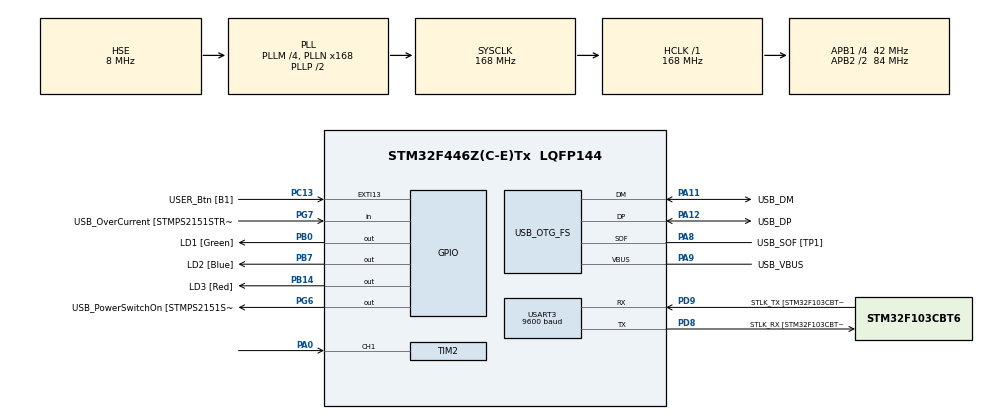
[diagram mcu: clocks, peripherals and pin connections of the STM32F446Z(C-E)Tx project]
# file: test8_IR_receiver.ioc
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Mcu.Family=STM32F4
Mcu.Name=STM32F446Z(C-E)Tx
Mcu.Package=LQFP144
NVIC.PriorityGroup=NVIC_PRIORITYGROUP_4
NVIC.TIM2_IRQn=true\:0\:0\:false\:false\:true\:true\:true\:true
PA0-WKUP.Signal=S_TIM2_CH1_ETR
PA10.GPIO_Label=USB_ID
PA10.Signal=USB_OTG_FS_ID
PA11.GPIO_Label=USB_DM
PA11.Mode=Device_Only
PA11.Signal=USB_OTG_FS_DM
PA12.GPIO_Label=USB_DP
PA12.Mode=Device_Only
PA12.Signal=USB_OTG_FS_DP
PA13.GPIO_Label=TMS
PA13.Mode=Serial_Wire
PA13.Signal=SYS_JTMS-SWDIO
PA14.GPIO_Label=TCK
PA14.Mode=Serial_Wire
PA14.Signal=SYS_JTCK-SWCLK
PA8.GPIO_Label=USB_SOF [TP1]
PA8.Mode=Activate_SOF_FS
PA8.Signal=USB_OTG_FS_SOF
PA9.GPIO_Label=USB_VBUS
PA9.Mode=Activate_VBUS
PA9.Signal=USB_OTG_FS_VBUS
PB0.GPIO_Label=LD1 [Green]
PB0.Signal=GPIO_Output
PB14.GPIO_Label=LD3 [Red]
PB14.Signal=GPIO_Output
PB7.GPIO_Label=LD2 [Blue]
PB7.Signal=GPIO_Output
PC13.GPIO_Label=USER_Btn [B1]
PC13.Signal=GPXTI13
PC14-OSC32_IN.Mode=LSE-External-Oscillator
PC14-OSC32_IN.Signal=RCC_OSC32_IN
PC15-OSC32_OUT.Mode=LSE-External-Oscillator
PC15-OSC32_OUT.Signal=RCC_OSC32_OUT
PD8.GPIO_Label=STLK_RX [STM32F103CBT6_PA3]
PD8.Mode=Asynchronous
PD8.Signal=USART3_TX
PD9.GPIO_Label=STLK_TX [STM32F103CBT6_PA2]
PD9.Mode=Asynchronous
PD9.Signal=USART3_RX
PG6.GPIO_Label=USB_PowerSwitchOn [STMPS2151STR_EN]
PG6.Signal=GPIO_Output
PG7.GPIO_Label=USB_OverCurrent [STMPS2151STR_FAULT]
PG7.Signal=GPIO_Input
PH0-OSC_IN.GPIO_Label=MCO [STM32F103CBT6_PA8]
PH0-OSC_IN.Mode=HSE-External-Clock-Source
PH0-OSC_IN.Signal=RCC_OSC_IN
PH1-OSC_OUT.Mode=HSE-External-Clock-Source
PH1-OSC_OUT.Signal=RCC_OSC_OUT
ProjectManager.HeapSize=0x200
ProjectManager.StackSize=0x400
ProjectManager.TargetToolchain=STM32CubeIDE
RCC.48MHZClocksFreq_Value=24000000
RCC.AHBFreq_Value=168000000
RCC.APB1CLKDivider=RCC_HCLK_DIV4
RCC.APB1Freq_Value=42000000
RCC.APB1TimFreq_Value=84000000
RCC.APB2CLKDivider=RCC_HCLK_DIV2
RCC.APB2Freq_Value=84000000
RCC.APB2TimFreq_Value=168000000
RCC.CortexFreq_Value=168000000
RCC.HCLKFreq_Value=168000000
RCC.HSE_VALUE=8000000
RCC.HSI_VALUE=16000000
RCC.PLLM=4
RCC.PLLMUL=RCC_PLL_MUL9
RCC.PLLN=168
RCC.PLLQ=7
RCC.PRESCALERUSB=RCC_USBCLKSOURCE_PLL_DIV1_5
RCC.SYSCLKFreq_VALUE=168000000
RCC.SYSCLKSource=RCC_SYSCLKSOURCE_PLLCLK
RCC.SYSCLKSourceVirtual=RCC_SYSCLKSOURCE_PLLCLK
RCC.USBFreq_Value=48000000
RCC.VCOOutputFreq_Value=336000000
SH.S_TIM2_CH1_ETR.0=TIM2_CH1,Input_Capture1_from_TI1
TIM2.Channel-Input_Capture1_from_TI1=TIM_CHANNEL_1
TIM2.Channel-Input_Capture2_from_TI1_63=TIM_CHANNEL_2
TIM2.ICPolarity_CH1=TIM_INPUTCHANNELPOLARITY_FALLING
TIM2.Period=10000-1
TIM2.Prescaler=84-1
USART3.BaudRate=9600
USART3.VirtualMode=VM_ASYNC
USB_OTG_FS.VirtualMode=Device_Only
VP_TIM2_VS_ClockSourceINT.Mode=Internal
VP_TIM2_VS_indirect_ch1.Mode=Input_Capture2_from_TI1_63
board=NUCLEO-F446ZE

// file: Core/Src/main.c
/* USER CODE BEGIN Header */
/**
  ******************************************************************************
  * @file           : main.c
  * @brief          : Main program body
  ******************************************************************************
  * @attention
  *
  * Copyright (c) 2024 STMicroelectronics.
  * All rights reserved.
  *
  * This software is licensed under terms that can be found in the LICENSE file
  * in the root directory of this software component.
  * If no LICENSE file comes with this software, it is provided AS-IS.
  *
  ******************************************************************************
  ******************************************************************************
  */
/* USER CODE END Header */
#include "main.h"

/* USER CODE BEGIN Includes */
#include <stdio.h>
/* USER CODE END Includes */

TIM_HandleTypeDef htim2;

UART_HandleTypeDef huart3;

PCD_HandleTypeDef hpcd_USB_OTG_FS;

/* USER CODE BEGIN PV */
REMOCONCODE RemoconCode;
IRQUEUE IRQueue;
int count_remocon_cmd[3];

uint32_t value1 = 0;
uint32_t value2 = 0;
int check_repeat = 0;

// USART
int __io_putchar(int ch){
	HAL_UART_Transmit(&huart3, &ch, 1, 1000);
    return ch;
}
/* USER CODE END PV */

void SystemClock_Config(void);
static void MX_GPIO_Init(void);
static void MX_USART3_UART_Init(void);
static void MX_USB_OTG_FS_PCD_Init(void);
static void MX_TIM2_Init(void);
/* USER CODE BEGIN PFP */
void HAL_TIM_IC_CaptureCallback(TIM_HandleTypeDef *htim);
void ProcessQueueData(void);
uint8_t CheckRemocon(void);
/* USER CODE END PFP */

int main(void)
{
  /* USER CODE BEGIN 1 */
	uint8_t i, pre, ret;
	char printBuff[256] = {0,};
	char imsiBuff[128] = {0,};
  /* USER CODE END 1 */

  /* MCU Configuration--------------------------------------------------------*/

  /* Reset of all peripherals, Initializes the Flash interface and the Systick. */
  HAL_Init();

  /* Configure the system clock */
  SystemClock_Config();

  /* Initialize all configured peripherals */
  MX_GPIO_Init();
  MX_USART3_UART_Init();
  MX_USB_OTG_FS_PCD_Init();
  MX_TIM2_Init();
  /* USER CODE BEGIN 2 */
  HAL_GPIO_WritePin(LD1_GPIO_Port, LD1_Pin, SET);
  HAL_TIM_IC_Start_IT(&htim2, TIM_CHANNEL_1);
  HAL_TIM_IC_Start_IT(&htim2, TIM_CHANNEL_2);
  HAL_TIM_Base_Start_IT(&htim2);
  memset(&IRQueue, 0, sizeof(IRQUEUE));
  /* USER CODE END 2 */

  /* Infinite loop */
  /* USER CODE BEGIN WHILE */
  while (1)
  {
		pre = 0;
		ret = CheckRemocon();
		if (ret != FAIL)
		{
			if (!check_repeat)
			{
				*printBuff = 0;
				for(i = pre;i < pre + ret;i++) {
					sprintf(imsiBuff,"%02X", RemoconCode.Code[i]);
					strcat(printBuff, imsiBuff);
				}
			}
			else
			{
				check_repeat = 0;
			}
			printf("%2dBits 0x%s\n\n\r", IRQueue.Bits, printBuff);
			pre = RemoconCode.Bytes;
		}
    /* USER CODE END WHILE */

  }
}

void SystemClock_Config(void)
{
  RCC_OscInitTypeDef RCC_OscInitStruct = {0};
  RCC_ClkInitTypeDef RCC_ClkInitStruct = {0};

  /** Configure the main internal regulator output voltage
  */
  __HAL_RCC_PWR_CLK_ENABLE();
  __HAL_PWR_VOLTAGESCALING_CONFIG(PWR_REGULATOR_VOLTAGE_SCALE1);

  /** Initializes the RCC Oscillators according to the specified parameters
  * in the RCC_OscInitTypeDef structure.
  */
  RCC_OscInitStruct.OscillatorType = RCC_OSCILLATORTYPE_HSE;
  RCC_OscInitStruct.HSEState = RCC_HSE_BYPASS;
  RCC_OscInitStruct.PLL.PLLState = RCC_PLL_ON;
  RCC_OscInitStruct.PLL.PLLSource = RCC_PLLSOURCE_HSE;
  RCC_OscInitStruct.PLL.PLLM = 4;
  RCC_OscInitStruct.PLL.PLLN = 168;
  RCC_OscInitStruct.PLL.PLLP = RCC_PLLP_DIV2;
  RCC_OscInitStruct.PLL.PLLQ = 7;
  RCC_OscInitStruct.PLL.PLLR = 2;
  if (HAL_RCC_OscConfig(&RCC_OscInitStruct) != HAL_OK)
  {
    Error_Handler();
  }

  /** Initializes the CPU, AHB and APB buses clocks
  */
  RCC_ClkInitStruct.ClockType = RCC_CLOCKTYPE_HCLK|RCC_CLOCKTYPE_SYSCLK
                              |RCC_CLOCKTYPE_PCLK1|RCC_CLOCKTYPE_PCLK2;
  RCC_ClkInitStruct.SYSCLKSource = RCC_SYSCLKSOURCE_PLLCLK;
  RCC_ClkInitStruct.AHBCLKDivider = RCC_SYSCLK_DIV1;
  RCC_ClkInitStruct.APB1CLKDivider = RCC_HCLK_DIV4;
  RCC_ClkInitStruct.APB2CLKDivider = RCC_HCLK_DIV2;

  if (HAL_RCC_ClockConfig(&RCC_ClkInitStruct, FLASH_LATENCY_5) != HAL_OK)
  {
    Error_Handler();
  }
}

static void MX_TIM2_Init(void)
{

  TIM_ClockConfigTypeDef sClockSourceConfig = {0};
  TIM_MasterConfigTypeDef sMasterConfig = {0};
  TIM_IC_InitTypeDef sConfigIC = {0};

  htim2.Instance = TIM2;
  htim2.Init.Prescaler = 84-1;
  htim2.Init.CounterMode = TIM_COUNTERMODE_UP;
  htim2.Init.Period = 10000-1;
  htim2.Init.ClockDivision = TIM_CLOCKDIVISION_DIV1;
  htim2.Init.AutoReloadPreload = TIM_AUTORELOAD_PRELOAD_DISABLE;
  if (HAL_TIM_Base_Init(&htim2) != HAL_OK)
  {
    Error_Handler();
  }
  sClockSourceConfig.ClockSource = TIM_CLOCKSOURCE_INTERNAL;
  if (HAL_TIM_ConfigClockSource(&htim2, &sClockSourceConfig) != HAL_OK)
  {
    Error_Handler();
  }
  if (HAL_TIM_IC_Init(&htim2) != HAL_OK)
  {
    Error_Handler();
  }
  sMasterConfig.MasterOutputTrigger = TIM_TRGO_RESET;
  sMasterConfig.MasterSlaveMode = TIM_MASTERSLAVEMODE_DISABLE;
  if (HAL_TIMEx_MasterConfigSynchronization(&htim2, &sMasterConfig) != HAL_OK)
  {
    Error_Handler();
  }
  sConfigIC.ICPolarity = TIM_INPUTCHANNELPOLARITY_FALLING;
  sConfigIC.ICSelection = TIM_ICSELECTION_DIRECTTI;
  sConfigIC.ICPrescaler = TIM_ICPSC_DIV1;
  sConfigIC.ICFilter = 0;
  if (HAL_TIM_IC_ConfigChannel(&htim2, &sConfigIC, TIM_CHANNEL_1) != HAL_OK)
  {
    Error_Handler();
  }
  sConfigIC.ICPolarity = TIM_INPUTCHANNELPOLARITY_RISING;
  sConfigIC.ICSelection = TIM_ICSELECTION_INDIRECTTI;
  if (HAL_TIM_IC_ConfigChannel(&htim2, &sConfigIC, TIM_CHANNEL_2) != HAL_OK)
  {
    Error_Handler();
  }

}

static void MX_USART3_UART_Init(void)
{

  huart3.Instance = USART3;
  huart3.Init.BaudRate = 9600;
  huart3.Init.WordLength = UART_WORDLENGTH_8B;
  huart3.Init.StopBits = UART_STOPBITS_1;
  huart3.Init.Parity = UART_PARITY_NONE;
  huart3.Init.Mode = UART_MODE_TX_RX;
  huart3.Init.HwFlowCtl = UART_HWCONTROL_NONE;
  huart3.Init.OverSampling = UART_OVERSAMPLING_16;
  if (HAL_UART_Init(&huart3) != HAL_OK)
  {
    Error_Handler();
  }

}

static void MX_USB_OTG_FS_PCD_Init(void)
{

  hpcd_USB_OTG_FS.Instance = USB_OTG_FS;
  hpcd_USB_OTG_FS.Init.dev_endpoints = 6;
  hpcd_USB_OTG_FS.Init.speed = PCD_SPEED_FULL;
  hpcd_USB_OTG_FS.Init.dma_enable = DISABLE;
  hpcd_USB_OTG_FS.Init.phy_itface = PCD_PHY_EMBEDDED;
  hpcd_USB_OTG_FS.Init.Sof_enable = ENABLE;
  hpcd_USB_OTG_FS.Init.low_power_enable = DISABLE;
  hpcd_USB_OTG_FS.Init.lpm_enable = DISABLE;
  hpcd_USB_OTG_FS.Init.vbus_sensing_enable = ENABLE;
  hpcd_USB_OTG_FS.Init.use_dedicated_ep1 = DISABLE;
  if (HAL_PCD_Init(&hpcd_USB_OTG_FS) != HAL_OK)
  {
    Error_Handler();
  }

}

static void MX_GPIO_Init(void)
{
  GPIO_InitTypeDef GPIO_InitStruct = {0};

  /* GPIO Ports Clock Enable */
  __HAL_RCC_GPIOC_CLK_ENABLE();
  __HAL_RCC_GPIOH_CLK_ENABLE();
  __HAL_RCC_GPIOA_CLK_ENABLE();
  __HAL_RCC_GPIOB_CLK_ENABLE();
  __HAL_RCC_GPIOD_CLK_ENABLE();
  __HAL_RCC_GPIOG_CLK_ENABLE();

  /*Configure GPIO pin Output Level */
  HAL_GPIO_WritePin(GPIOB, LD1_Pin|LD3_Pin|LD2_Pin, GPIO_PIN_RESET);

  /*Configure GPIO pin Output Level */
  HAL_GPIO_WritePin(USB_PowerSwitchOn_GPIO_Port, USB_PowerSwitchOn_Pin, GPIO_PIN_RESET);

  /*Configure GPIO pin : USER_Btn_Pin */
  GPIO_InitStruct.Pin = USER_Btn_Pin;
  GPIO_InitStruct.Mode = GPIO_MODE_IT_RISING;
  GPIO_InitStruct.Pull = GPIO_NOPULL;
  HAL_GPIO_Init(USER_Btn_GPIO_Port, &GPIO_InitStruct);

  /*Configure GPIO pins : LD1_Pin LD3_Pin LD2_Pin */
  GPIO_InitStruct.Pin = LD1_Pin|LD3_Pin|LD2_Pin;
  GPIO_InitStruct.Mode = GPIO_MODE_OUTPUT_PP;
  GPIO_InitStruct.Pull = GPIO_NOPULL;
  GPIO_InitStruct.Speed = GPIO_SPEED_FREQ_LOW;
  HAL_GPIO_Init(GPIOB, &GPIO_InitStruct);

  /*Configure GPIO pin : USB_PowerSwitchOn_Pin */
  GPIO_InitStruct.Pin = USB_PowerSwitchOn_Pin;
  GPIO_InitStruct.Mode = GPIO_MODE_OUTPUT_PP;
  GPIO_InitStruct.Pull = GPIO_NOPULL;
  GPIO_InitStruct.Speed = GPIO_SPEED_FREQ_LOW;
  HAL_GPIO_Init(USB_PowerSwitchOn_GPIO_Port, &GPIO_InitStruct);

  /*Configure GPIO pin : USB_OverCurrent_Pin */
  GPIO_InitStruct.Pin = USB_OverCurrent_Pin;
  GPIO_InitStruct.Mode = GPIO_MODE_INPUT;
  GPIO_InitStruct.Pull = GPIO_NOPULL;
  HAL_GPIO_Init(USB_OverCurrent_GPIO_Port, &GPIO_InitStruct);

}

/* USER CODE BEGIN 4 */
void HAL_TIM_IC_CaptureCallback(TIM_HandleTypeDef *htim)
{
	if(htim->Instance == TIM2)
	{
		if(htim->Channel == HAL_TIM_ACTIVE_CHANNEL_1)
		{
			value1 = TIM2->CCR1;
			TIM2->CNT = 0;

			if (IRQueue.State == IR_STANDBY)
			{
				IRQueue.State = IR_DATA_IN;
				return;
			}

			if (IRQueue.State != IR_DATA_IN)
			{
				return;
			}

			IRQueue.QueueHigh[IRQueue.Head] = value1;

			IRQueue.Head = ((IRQueue.Head + 1) % MAX_IRQueueSIZE);
			IRQueue.Data++;
		}

		if(htim->Channel == HAL_TIM_ACTIVE_CHANNEL_2)
		{

			value2 = TIM2->CCR2;
			TIM2->CNT = 0;
			IRQueue.QueueLow[IRQueue.Head] = value2;

		}
	}
}

// occur timer interrupt => finish data in
void HAL_TIM_PeriodElapsedCallback(TIM_HandleTypeDef *htim){
	if (IRQueue.State == IR_DATA_IN)
	{
		IRQueue.State = IR_NO_MORE;
		HAL_GPIO_TogglePin(GPIOB, LD2_Pin);
	}
}

void ProcessQueueData(void)
{
	HAL_Delay(7);
	IRQueue.Tail = (IRQueue.Tail + 1) % MAX_IRQueueSIZE;
	IRQueue.Data--;
}

uint8_t CheckRemocon(void)
{
	uint16_t data = 0, high_data = 0, low_data = 0;

	if(IRQueue.State != IR_NO_MORE)
		return FAIL;

	if(IRQueue.State == IR_NO_MORE)
		memset(&RemoconCode, 0, sizeof(REMOCONCODE));

	if(IRQueue.Data == 0)
	{
		IRQueue.State = IR_STANDBY;
		return FAIL;
	}
	IRQueue.Bits = 0;

	while(IRQueue.Data > 0)
	{
		high_data = IRQueue.QueueHigh[IRQueue.Tail];
		low_data = IRQueue.QueueLow[IRQueue.Tail];
		data = high_data + low_data;

		ProcessQueueData();

		if (high_data >= MIN_REPEAT_HIGH && high_data <= MAX_REPEAT_HIGH)
		{
			check_repeat = 1;
			IRQueue.Bits = 32;
		}
		else if(data >= MIN_0_LENGTH && data <= MAX_0_LENGTH)
		{
			IRQueue.Bits++;
		}
		else if(data >= MIN_1_LENGTH && data <= MAX_1_LENGTH)
		{
			RemoconCode.Code[RemoconCode.Bytes + IRQueue.Bits / 8] |= (0x01 << (IRQueue.Bits % 8));
			IRQueue.Bits++;
		}
		else
		{
			break;
		}
	}

	if(IRQueue.Data == 0){
		IRQueue.State = IR_STANDBY;
	}

	RemoconCode.Bytes += (IRQueue.Bits / 8);
	return (IRQueue.Bits / 8);
}

//void romocon_cmd_counter(char cmd)
//{
//	switch (cmd) {
//		case "00FF46B9":
//			count_remocon_cmd[0]++;
//			break;
//		case "00FF44BB":
//			count_remocon_cmd[1]++;
//					break;
//		case "00FF15EA":
//			count_remocon_cmd[2]++;
//					break;
//		case "00FF43BC":
//			count_remocon_cmd[3]++;
//					break;
//		default:
//			break;
//	}
//}
/* USER CODE END 4 */

void Error_Handler(void)
{
  __disable_irq();
  while (1)
  {
  }
}
